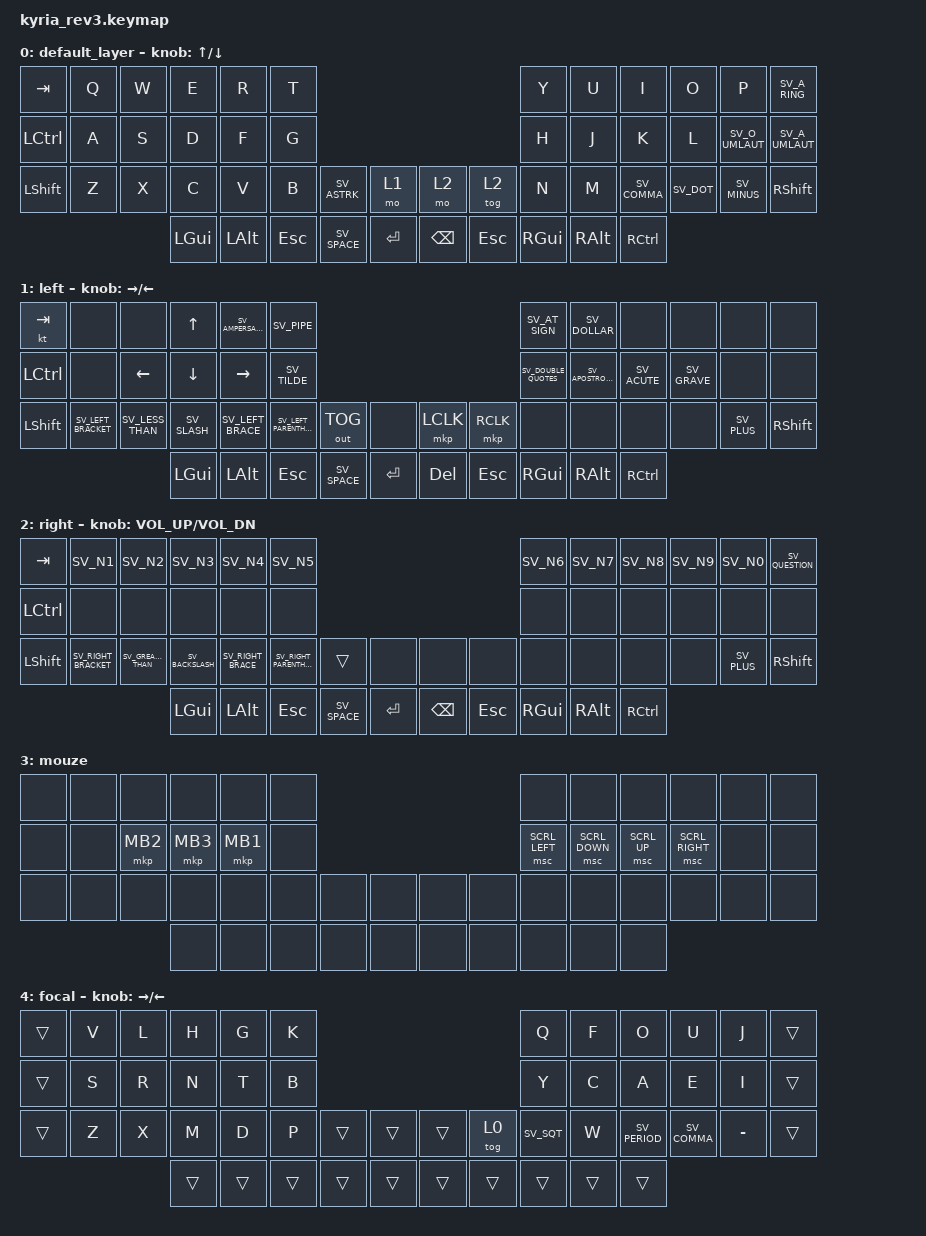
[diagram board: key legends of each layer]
/*
 * Copyright (c) 2023 The ZMK Contributors
 *
 * SPDX-License-Identifier: MIT
 */

#include "keys_sv.h"
#include <dt-bindings/zmk/mouse.h>
#include <behaviors.dtsi>
#include <dt-bindings/zmk/keys.h>
#include <dt-bindings/zmk/keys.h>
#include <dt-bindings/zmk/outputs.h>
#include <dt-bindings/zmk/pointing.h>
#include <dt-bindings/zmk/pointing.h>

&led_strip {
    // chain-length = <6>;
    // chain-length = <31>; // Uncomment if using both per-key and underglow LEDs

    chain-length = <24>; // Uncomment if using only per-key LEDs.
};

/ {
    keymap {
        compatible = "zmk,keymap";

        default_layer {
            bindings = <
&kp TAB     &kp Q  &kp W  &kp E     &kp R         &kp T                                                     &kp Y          &kp U     &kp I         &kp O       &kp P            &kp SV_A_RING
&kp LCTRL   &kp A  &kp S  &kp D     &kp F         &kp G                                                     &kp H          &kp J     &kp K         &kp L       &kp SV_O_UMLAUT  &kp SV_A_UMLAUT
&kp LSHIFT  &kp Z  &kp X  &kp C     &kp V         &kp B    &kp SV_ASTRK  &mo 1      &mo 2          &tog 2   &kp N          &kp M     &kp SV_COMMA  &kp SV_DOT  &kp SV_MINUS     &kp RIGHT_SHIFT
                          &kp LGUI  &kp LEFT_ALT  &kp ESC  &kp SV_SPACE  &kp ENTER  &kp BACKSPACE  &kp ESC  &kp RIGHT_GUI  &kp RALT  &kp RCTRL
            >;

            sensor-bindings = <&inc_dec_kp UP DOWN_ARROW>;
        };

        left {
            bindings = <
&kt TAB         &none                &none             &kp UP          &kp SV_AMPERSAND   &kp SV_PIPE                                                             &kp SV_AT_SIGN        &kp SV_DOLLAR      &none         &none         &none        &none
&kp LCTRL       &none                &kp LEFT_ARROW    &kp DOWN_ARROW  &kp RIGHT          &kp SV_TILDE                                                            &kp SV_DOUBLE_QUOTES  &kp SV_APOSTROPHE  &kp SV_ACUTE  &kp SV_GRAVE  &none        &none
&kp LEFT_SHIFT  &kp SV_LEFT_BRACKET  &kp SV_LESS_THAN  &kp SV_SLASH    &kp SV_LEFT_BRACE  &kp SV_LEFT_PARENTHESIS  &out OUT_TOG  &none      &mkp LCLK  &mkp RCLK  &none                 &none              &none         &none         &kp SV_PLUS  &kp RSHFT
                                                       &kp LEFT_GUI    &kp LEFT_ALT       &kp ESC                  &kp SV_SPACE  &kp ENTER  &kp DEL    &kp ESC    &kp RIGHT_GUI         &kp RALT           &kp RCTRL
            >;

            sensor-bindings = <&inc_dec_kp RIGHT LEFT_ARROW>;
        };

        right {
            bindings = <
&kp TAB         &kp SV_N1             &kp SV_N2            &kp SV_N3         &kp SV_N4           &kp SV_N5                                                                   &kp SV_N6  &kp SV_N7      &kp SV_N8  &kp SV_N9  &kp SV_N0    &kp SV_QUESTION
&kp LCTRL       &none                 &none                &none             &none               &none                                                                       &none      &none          &none      &none      &none        &none
&kp LEFT_SHIFT  &kp SV_RIGHT_BRACKET  &kp SV_GREATER_THAN  &kp SV_BACKSLASH  &kp SV_RIGHT_BRACE  &kp SV_RIGHT_PARENTHESIS  &trans        &none       &none          &none    &none      &none          &none      &none      &kp SV_PLUS  &kp RIGHT_SHIFT
                                                           &kp LGUI          &kp LEFT_ALT        &kp ESC                   &kp SV_SPACE  &kp RETURN  &kp BACKSPACE  &kp ESC  &kp RGUI   &kp RIGHT_ALT  &kp RCTRL
            >;

            sensor-bindings = <&inc_dec_kp C_VOL_UP C_VOL_DN>;
        };

        mouze {
            bindings = <
&none  &none  &none     &none     &none     &none                              &none           &none           &none         &none            &none  &none
&none  &none  &mkp MB2  &mkp MB3  &mkp MB1  &none                              &msc SCRL_LEFT  &msc SCRL_DOWN  &msc SCRL_UP  &msc SCRL_RIGHT  &none  &none
&none  &none  &none     &none     &none     &none  &none  &none  &none  &none  &none           &none           &none         &none            &none  &none
                        &none     &none     &none  &none  &none  &none  &none  &none           &none           &none
            >;
        };

        focal {
            bindings = <
&trans  &kp V  &kp L  &kp H   &kp G   &kp K                                   &kp Q       &kp F   &kp O          &kp U         &kp J      &trans
&trans  &kp S  &kp R  &kp N   &kp T   &kp B                                   &kp Y       &kp C   &kp A          &kp E         &kp I      &trans
&trans  &kp Z  &kp X  &kp M   &kp D   &kp P   &trans  &trans  &trans  &tog 0  &kp SV_SQT  &kp W   &kp SV_PERIOD  &kp SV_COMMA  &kp MINUS  &trans
                      &trans  &trans  &trans  &trans  &trans  &trans  &trans  &trans      &trans  &trans
            >;

            sensor-bindings = <&inc_dec_kp RIGHT LEFT>;
        };
    };
};
